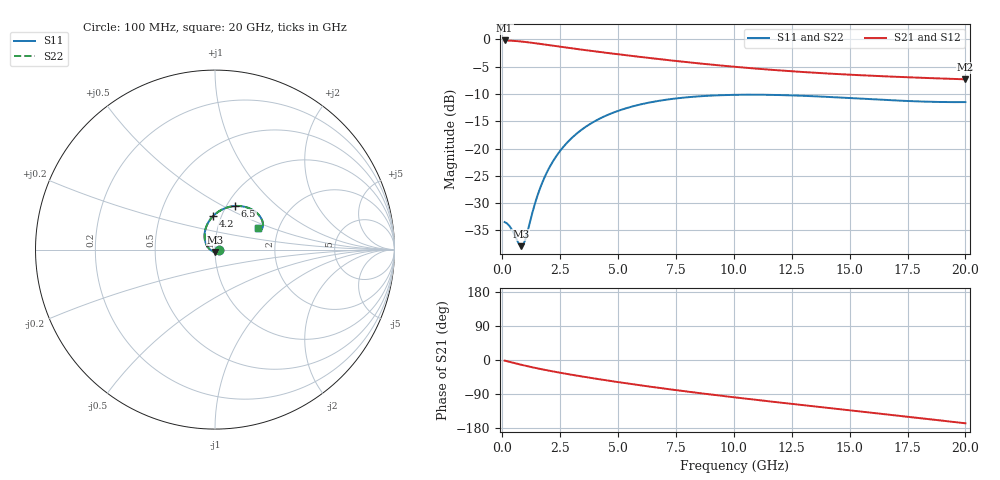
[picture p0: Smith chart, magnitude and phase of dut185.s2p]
! Created with skrf 1.9.0 (http://scikit-rf.org).
# GHz S RI R 50.0
!freq ReS11 ImS11 ReS21 ImS21 ReS12 ImS12 ReS22 ImS22
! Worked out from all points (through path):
!   200 points, 100 MHz to 20 GHz, reference 50 ohm
!   highest |S21| = -0.19 dB at 100 MHz (marker M1); lowest = -7.3 dB at 20 GHz (marker M2)
!   group delay of S21, straight-line fit = 21.7 ps
!   lowest |S11| = -37.9 dB at 800 MHz (marker M3), VSWR 1.03, Z = 49.9 - j1.27 ohm
!   |S11| at or under -10 dB: start of sweep to end of sweep
!   |S22| runs from -37.9 to -10.1 dB; largest |S21 - S12| = 2.2e-15
!   S11 on the Smith chart (normalised r, x): 100 MHz: 1.04, -0.00; 4.2 GHz: 0.91, +0.36; 6.5 GHz: 1.10, +0.57; 20 GHz: 1.56, +0.40
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0.1  0.021 -0.00239  0.9778 -0.0272  0.9778 -0.0272  0.021 -0.00239
0.4  0.0155 -0.00964  0.967 -0.1062  0.967 -0.1062  0.0155 -0.00964
0.7  0.00417 -0.0129  0.9451 -0.1804  0.9451 -0.1804  0.00417 -0.0129
0.8  -0.000489 -0.0127  0.9357 -0.2036  0.9357 -0.2036  -0.000489 -0.0127
0.9  -0.00542 -0.0119  0.9255 -0.226  0.9255 -0.226  -0.00542 -0.0119
1  -0.0105 -0.0103  0.9146 -0.2475  0.9146 -0.2475  -0.0105 -0.0103
1.3  -0.0258 -0.00149  0.8783 -0.3066  0.8783 -0.3066  -0.0258 -0.00149
1.5  -0.0352 0.00755  0.8521 -0.3418  0.8521 -0.3418  -0.0352 0.00755
1.7  -0.0433 0.0187  0.8249 -0.3737  0.8249 -0.3737  -0.0433 0.0187
2  -0.0524 0.0383  0.7833 -0.4161  0.7833 -0.4161  -0.0524 0.0383
2.3  -0.0573 0.0602  0.7412 -0.4529  0.7412 -0.4529  -0.0573 0.0602
2.7  -0.0576 0.0905  0.6854 -0.4945  0.6854 -0.4945  -0.0576 0.0905
3.5  -0.0396 0.1475  0.5762 -0.5577  0.5762 -0.5577  -0.0396 0.1475
4.2  -0.01 0.1874  0.4843 -0.5953  0.4843 -0.5953  -0.01 0.1874
5.2  0.0426 0.2247  0.3601 -0.6262  0.3601 -0.6262  0.0426 0.2247
6.5  0.1122 0.2429  0.2145 -0.6349  0.2145 -0.6349  0.1122 0.2429
6.8  0.127 0.2433  0.1837 -0.6329  0.1837 -0.6329  0.127 0.2433
8.4  0.1932 0.2293  0.0373 -0.6046  0.0373 -0.6046  0.1932 0.2293
10.1  0.2385 0.199  -0.0879 -0.5527  -0.0879 -0.5527  0.2385 0.199
13.4  0.2677 0.1393  -0.2625 -0.4212  -0.2625 -0.4212  0.2677 0.1393
16.7  0.2547 0.1105  -0.371 -0.267  -0.371 -0.267  0.2547 0.1105
20  0.2382 0.1192  -0.4196 -0.0968  -0.4196 -0.0968  0.2382 0.1192
